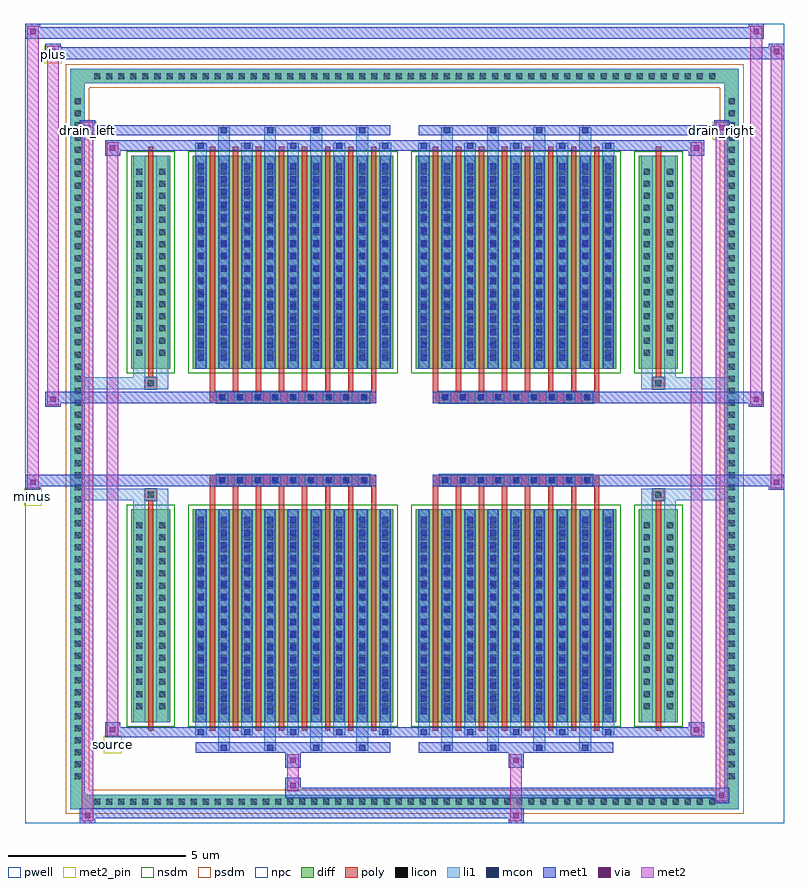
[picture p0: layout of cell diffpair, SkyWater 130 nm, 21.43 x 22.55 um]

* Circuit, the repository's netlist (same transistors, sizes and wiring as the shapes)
* NGSPICE file created from diffpair.ext - technology: sky130A

.subckt diffpair minus drain_right drain_left source plus
X0 source plus drain_left a_n1886_n2088# sky130_fd_pr__nfet_01v8 ad=1.5 pd=6.5 as=1.5 ps=6.5 w=6 l=0.15
X1 a_n1886_n2088# a_n1886_n2088# a_n1886_n2088# a_n1886_n2088# sky130_fd_pr__nfet_01v8 ad=2.85 pd=12.95 as=22.8 ps=103.6 w=6 l=0.15
X2 source minus drain_right a_n1886_n2088# sky130_fd_pr__nfet_01v8 ad=1.5 pd=6.5 as=1.5 ps=6.5 w=6 l=0.15
X3 drain_left plus source a_n1886_n2088# sky130_fd_pr__nfet_01v8 ad=1.5 pd=6.5 as=2.85 ps=12.95 w=6 l=0.15
X4 drain_left plus source a_n1886_n2088# sky130_fd_pr__nfet_01v8 ad=1.5 pd=6.5 as=1.5 ps=6.5 w=6 l=0.15
X5 drain_right minus source a_n1886_n2088# sky130_fd_pr__nfet_01v8 ad=1.5 pd=6.5 as=1.5 ps=6.5 w=6 l=0.15
X6 drain_right minus source a_n1886_n2088# sky130_fd_pr__nfet_01v8 ad=1.5 pd=6.5 as=1.5 ps=6.5 w=6 l=0.15
X7 source plus drain_left a_n1886_n2088# sky130_fd_pr__nfet_01v8 ad=1.5 pd=6.5 as=1.5 ps=6.5 w=6 l=0.15
X8 a_n1886_n2088# a_n1886_n2088# a_n1886_n2088# a_n1886_n2088# sky130_fd_pr__nfet_01v8 ad=2.85 pd=12.95 as=0 ps=0 w=6 l=0.15
X9 a_n1886_n2088# a_n1886_n2088# a_n1886_n2088# a_n1886_n2088# sky130_fd_pr__nfet_01v8 ad=2.85 pd=12.95 as=0 ps=0 w=6 l=0.15
X10 source minus drain_right a_n1886_n2088# sky130_fd_pr__nfet_01v8 ad=1.5 pd=6.5 as=1.5 ps=6.5 w=6 l=0.15
X11 a_n1886_n2088# a_n1886_n2088# a_n1886_n2088# a_n1886_n2088# sky130_fd_pr__nfet_01v8 ad=2.85 pd=12.95 as=0 ps=0 w=6 l=0.15
X12 source minus drain_right a_n1886_n2088# sky130_fd_pr__nfet_01v8 ad=1.5 pd=6.5 as=1.5 ps=6.5 w=6 l=0.15
X13 source minus drain_right a_n1886_n2088# sky130_fd_pr__nfet_01v8 ad=1.5 pd=6.5 as=1.5 ps=6.5 w=6 l=0.15
X14 drain_right minus source a_n1886_n2088# sky130_fd_pr__nfet_01v8 ad=1.5 pd=6.5 as=2.85 ps=12.95 w=6 l=0.15
X15 drain_right minus source a_n1886_n2088# sky130_fd_pr__nfet_01v8 ad=1.5 pd=6.5 as=1.5 ps=6.5 w=6 l=0.15
X16 drain_right minus source a_n1886_n2088# sky130_fd_pr__nfet_01v8 ad=1.5 pd=6.5 as=1.5 ps=6.5 w=6 l=0.15
X17 source minus drain_right a_n1886_n2088# sky130_fd_pr__nfet_01v8 ad=1.5 pd=6.5 as=1.5 ps=6.5 w=6 l=0.15
X18 drain_right minus source a_n1886_n2088# sky130_fd_pr__nfet_01v8 ad=1.5 pd=6.5 as=2.85 ps=12.95 w=6 l=0.15
X19 drain_left plus source a_n1886_n2088# sky130_fd_pr__nfet_01v8 ad=1.5 pd=6.5 as=2.85 ps=12.95 w=6 l=0.15
X20 source plus drain_left a_n1886_n2088# sky130_fd_pr__nfet_01v8 ad=2.85 pd=12.95 as=1.5 ps=6.5 w=6 l=0.15
X21 drain_right minus source a_n1886_n2088# sky130_fd_pr__nfet_01v8 ad=1.5 pd=6.5 as=1.5 ps=6.5 w=6 l=0.15
X22 drain_right minus source a_n1886_n2088# sky130_fd_pr__nfet_01v8 ad=1.5 pd=6.5 as=1.5 ps=6.5 w=6 l=0.15
X23 source minus drain_right a_n1886_n2088# sky130_fd_pr__nfet_01v8 ad=2.85 pd=12.95 as=1.5 ps=6.5 w=6 l=0.15
X24 source minus drain_right a_n1886_n2088# sky130_fd_pr__nfet_01v8 ad=2.85 pd=12.95 as=1.5 ps=6.5 w=6 l=0.15
X25 source plus drain_left a_n1886_n2088# sky130_fd_pr__nfet_01v8 ad=1.5 pd=6.5 as=1.5 ps=6.5 w=6 l=0.15
X26 drain_left plus source a_n1886_n2088# sky130_fd_pr__nfet_01v8 ad=1.5 pd=6.5 as=1.5 ps=6.5 w=6 l=0.15
X27 source minus drain_right a_n1886_n2088# sky130_fd_pr__nfet_01v8 ad=1.5 pd=6.5 as=1.5 ps=6.5 w=6 l=0.15
X28 source plus drain_left a_n1886_n2088# sky130_fd_pr__nfet_01v8 ad=1.5 pd=6.5 as=1.5 ps=6.5 w=6 l=0.15
X29 source plus drain_left a_n1886_n2088# sky130_fd_pr__nfet_01v8 ad=1.5 pd=6.5 as=1.5 ps=6.5 w=6 l=0.15
X30 drain_left plus source a_n1886_n2088# sky130_fd_pr__nfet_01v8 ad=1.5 pd=6.5 as=1.5 ps=6.5 w=6 l=0.15
X31 drain_left plus source a_n1886_n2088# sky130_fd_pr__nfet_01v8 ad=1.5 pd=6.5 as=1.5 ps=6.5 w=6 l=0.15
X32 drain_left plus source a_n1886_n2088# sky130_fd_pr__nfet_01v8 ad=1.5 pd=6.5 as=1.5 ps=6.5 w=6 l=0.15
X33 source plus drain_left a_n1886_n2088# sky130_fd_pr__nfet_01v8 ad=2.85 pd=12.95 as=1.5 ps=6.5 w=6 l=0.15
X34 drain_left plus source a_n1886_n2088# sky130_fd_pr__nfet_01v8 ad=1.5 pd=6.5 as=1.5 ps=6.5 w=6 l=0.15
X35 source plus drain_left a_n1886_n2088# sky130_fd_pr__nfet_01v8 ad=1.5 pd=6.5 as=1.5 ps=6.5 w=6 l=0.15
.ends

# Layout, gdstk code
import gdstk
lib = gdstk.Library(unit=1e-6, precision=5e-09)
def R(c, l, rs):  # rectangles x0, y0, x1, y1
    for r in rs: c.add(gdstk.rectangle(r[:2], r[2:], *l))
def A(c, l, x, y, w, h, nx, ny, dx, dy):  # array of equal rectangles
    R(c, l, [(x+i*dx, y+j*dy, x+i*dx+w, y+j*dy+h) for i in range(nx) for j in range(ny)])
def P(c, l, *ps):  # polygons
    for p in ps: c.add(gdstk.Polygon(p, *l))
pwell = (64, 44)
diff = (65, 20)
poly = (66, 20)
licon = (66, 44)
li1 = (67, 20)
mcon = (67, 44)
met1 = (68, 20)
via = (68, 44)
met2_pin = (69, 16)
met2 = (69, 20)
nsdm = (93, 44)
psdm = (94, 20)
npc = (95, 20)

diffpair = lib.new_cell('diffpair')
R(diffpair, pwell, [(-10.7,-10.84,10.7,11.71), (-8.02,-9.03,-0.01,-0.805), (0.01,-9.03,8.02,-0.805), (-8.02,0.805,-0.01,9.03), (0.01,0.805,8.02,9.03)])
A(diffpair, diff, -8.875, -10.44, 0.41, 0.41, 52, 2, 0.34, 20.47)
A(diffpair, diff, -9.43, -9.725, 0.41, 0.41, 1, 57, 0, 0.34)
A(diffpair, diff, 9.02, -9.725, 0.41, 0.41, 1, 57, 0, 0.34)
R(diffpair, diff, [(-8.875,-10.44,8.875,-10.03), (-9.43,-9.725,-9.02,9.725), (9.02,-9.725,9.43,9.725), (-7.71,-7.985,-6.61,-1.985), (-5.97,-7.985,-0.32,-1.985), (0.32,-7.985,5.97,-1.985), (6.61,-7.985,7.71,-1.985), (-7.71,1.985,-6.61,7.985), (-5.97,1.985,-0.32,7.985), (0.32,1.985,5.97,7.985), (6.61,1.985,7.71,7.985), (-8.875,10.03,8.875,10.44)])
P(diffpair, diff, [(9.43,10.44),(-9.43,10.44),(-9.43,-10.03),(-9.02,-10.03),(-9.02,10.03),(9.02,10.03),(9.02,-10.03),(-9.02,-10.03),(-9.43,-10.03),(-9.43,-10.44),(9.43,-10.44)])
A(diffpair, poly, -5.495, -8.235, 0.15, 6.5, 8, 2, 0.65, 9.97)
A(diffpair, poly, 0.795, -8.235, 0.15, 6.5, 8, 2, 0.65, 9.97)
A(diffpair, poly, -5.495, -1.735, 0.15, 0.4, 8, 2, 0.65, 3.07)
A(diffpair, poly, 0.795, -1.735, 0.15, 0.4, 8, 2, 0.65, 3.07)
A(diffpair, poly, -5.31, -1.335, 0.33, 0.33, 9, 2, 0.5, 2.34)
A(diffpair, poly, 0.98, -1.335, 0.33, 0.33, 9, 2, 0.5, 2.34)
R(diffpair, poly, [(-7.235,-8.235,-7.085,-1.735), (7.085,-8.235,7.235,-1.735), (-7.325,-1.735,-6.995,-1.405), (-7.325,-1.735,-6.995,-1.405), (6.995,-1.735,7.325,-1.405), (6.995,-1.735,7.325,-1.405), (-5.495,-1.335,-0.795,-1.005), (0.795,-1.335,5.495,-1.005), (-5.495,1.005,-0.795,1.335), (0.795,1.005,5.495,1.335), (-7.325,1.405,-6.995,1.735), (-7.325,1.405,-6.995,1.735), (6.995,1.405,7.325,1.735), (6.995,1.405,7.325,1.735), (-7.235,1.735,-7.085,8.235), (7.085,1.735,7.235,8.235)])
A(diffpair, licon, -8.755, -10.32, 0.17, 0.17, 52, 2, 0.34, 20.47)
A(diffpair, licon, -9.31, -9.605, 0.17, 0.17, 1, 57, 0, 0.34)
A(diffpair, licon, 9.14, -9.605, 0.17, 0.17, 1, 57, 0, 0.34)
A(diffpair, licon, -7.57, -7.62, 0.17, 0.17, 1, 16, 0, 0.34)
A(diffpair, licon, -6.92, -7.62, 0.17, 0.17, 1, 16, 0, 0.34)
A(diffpair, licon, -5.83, -7.62, 0.17, 0.17, 9, 16, 0.65, 0.34)
A(diffpair, licon, 0.46, -7.62, 0.17, 0.17, 9, 16, 0.65, 0.34)
A(diffpair, licon, 6.75, -7.62, 0.17, 0.17, 1, 16, 0, 0.34)
A(diffpair, licon, 7.4, -7.62, 0.17, 0.17, 1, 16, 0, 0.34)
A(diffpair, licon, -5.23, -1.255, 0.17, 0.17, 9, 2, 0.5, 2.34)
A(diffpair, licon, 1.06, -1.255, 0.17, 0.17, 9, 2, 0.5, 2.34)
A(diffpair, licon, -7.57, 2.35, 0.17, 0.17, 1, 16, 0, 0.34)
A(diffpair, licon, -6.92, 2.35, 0.17, 0.17, 1, 16, 0, 0.34)
A(diffpair, licon, -5.83, 2.35, 0.17, 0.17, 9, 16, 0.65, 0.34)
A(diffpair, licon, 0.46, 2.35, 0.17, 0.17, 9, 16, 0.65, 0.34)
A(diffpair, licon, 6.75, 2.35, 0.17, 0.17, 1, 16, 0, 0.34)
A(diffpair, licon, 7.4, 2.35, 0.17, 0.17, 1, 16, 0, 0.34)
R(diffpair, licon, [(-7.245,-1.655,-7.075,-1.485), (7.075,-1.655,7.245,-1.485), (-7.245,1.485,-7.075,1.655), (7.075,1.485,7.245,1.655)])
A(diffpair, li1, -8.835, -10.4, 0.33, 0.33, 52, 2, 0.34, 20.47)
A(diffpair, li1, -9.39, -9.685, 0.33, 0.33, 1, 57, 0, 0.34)
A(diffpair, li1, 9.06, -9.685, 0.33, 0.33, 1, 57, 0, 0.34)
A(diffpair, li1, -5.26, -8.79, 0.33, 0.805, 4, 2, 1.3, 16.775)
A(diffpair, li1, -5.18, -8.79, 0.17, 0.17, 4, 2, 1.3, 17.41)
A(diffpair, li1, 1.03, -8.79, 0.33, 0.805, 4, 2, 1.3, 16.775)
A(diffpair, li1, 1.11, -8.79, 0.17, 0.17, 4, 2, 1.3, 17.41)
A(diffpair, li1, -5.91, -8.36, 0.33, 0.375, 5, 2, 1.3, 16.345)
A(diffpair, li1, -5.83, -8.36, 0.17, 0.17, 5, 2, 1.3, 16.55)
A(diffpair, li1, 0.38, -8.36, 0.33, 0.375, 5, 2, 1.3, 16.345)
A(diffpair, li1, 0.46, -8.36, 0.17, 0.17, 5, 2, 1.3, 16.55)
A(diffpair, li1, -5.91, -7.985, 0.33, 6, 9, 2, 0.65, 9.97)
A(diffpair, li1, 0.38, -7.985, 0.33, 6, 9, 2, 0.65, 9.97)
A(diffpair, li1, -5.83, -7.77, 0.17, 0.17, 9, 16, 0.65, 0.36)
A(diffpair, li1, -5.83, -7.77, 0.17, 5.57, 9, 2, 0.65, 9.97)
A(diffpair, li1, 0.46, -7.77, 0.17, 0.17, 9, 16, 0.65, 0.36)
A(diffpair, li1, 0.46, -7.77, 0.17, 5.57, 9, 2, 0.65, 9.97)
A(diffpair, li1, -7.65, -7.7, 0.33, 0.33, 1, 16, 0, 0.34)
A(diffpair, li1, -7, -7.7, 0.33, 0.33, 1, 16, 0, 0.34)
A(diffpair, li1, -5.91, -7.7, 0.33, 0.33, 9, 16, 0.65, 0.34)
A(diffpair, li1, 0.38, -7.7, 0.33, 0.33, 9, 16, 0.65, 0.34)
A(diffpair, li1, 6.67, -7.7, 0.33, 0.33, 1, 16, 0, 0.34)
A(diffpair, li1, 7.32, -7.7, 0.33, 0.33, 1, 16, 0, 0.34)
A(diffpair, li1, -5.31, -1.335, 0.33, 0.33, 9, 2, 0.5, 2.34)
A(diffpair, li1, 0.98, -1.335, 0.33, 0.33, 9, 2, 0.5, 2.34)
A(diffpair, li1, -5.83, 2.2, 0.17, 0.17, 9, 16, 0.65, 0.36)
A(diffpair, li1, 0.46, 2.2, 0.17, 0.17, 9, 16, 0.65, 0.36)
A(diffpair, li1, -7.65, 2.27, 0.33, 0.33, 1, 16, 0, 0.34)
A(diffpair, li1, -7, 2.27, 0.33, 0.33, 1, 16, 0, 0.34)
A(diffpair, li1, -5.91, 2.27, 0.33, 0.33, 9, 16, 0.65, 0.34)
A(diffpair, li1, 0.38, 2.27, 0.33, 0.33, 9, 16, 0.65, 0.34)
A(diffpair, li1, 6.67, 2.27, 0.33, 0.33, 1, 16, 0, 0.34)
A(diffpair, li1, 7.32, 2.27, 0.33, 0.33, 1, 16, 0, 0.34)
R(diffpair, li1, [(-9.43,-10.44,-9.02,-10.03), (-9.43,-10.44,-9.02,-10.03), (-9.02,-10.44,9.02,-10.03), (9.02,-10.44,9.43,-10.03), (9.02,-10.44,9.43,-10.03), (-9.43,-10.03,-9.02,10.03), (9.02,-10.03,9.43,10.03), (-7.65,-7.985,-7.32,-1.985), (-7,-7.985,-6.67,-1.985), (6.67,-7.985,7,-1.985), (7.32,-7.985,7.65,-1.985), (-7.65,-1.985,-7.32,-1.405), (-7,-1.985,-6.67,-1.405), (6.67,-1.985,7,-1.405), (7.32,-1.985,7.65,-1.405), (-9.43,-1.735,-7.325,-1.405), (-7.65,-1.735,-7.325,-1.405), (-7.325,-1.735,-6.995,-1.405), (-6.995,-1.735,-6.67,-1.405), (6.67,-1.735,6.995,-1.405), (6.995,-1.735,7.325,-1.405), (6.995,-1.735,9.43,-1.405), (7.325,-1.735,7.65,-1.405), (-9.43,1.405,-7.325,1.735), (-7.65,1.405,-7.325,1.735), (-7.65,1.405,-7.32,1.985), (-7.325,1.405,-6.995,1.735), (-7,1.405,-6.67,1.985), (-6.995,1.405,-6.67,1.735), (6.67,1.405,6.995,1.735), (6.67,1.405,7,1.985), (6.995,1.405,7.325,1.735), (6.995,1.405,9.43,1.735), (7.32,1.405,7.65,1.985), (7.325,1.405,7.65,1.735), (-7.65,1.985,-7.32,7.985), (-7,1.985,-6.67,7.985), (6.67,1.985,7,7.985), (7.32,1.985,7.65,7.985), (-9.43,10.03,-9.02,10.44), (-9.43,10.03,-9.02,10.44), (-9.02,10.03,9.02,10.44), (9.02,10.03,9.43,10.44), (9.02,10.03,9.43,10.44)])
A(diffpair, mcon, -5.18, -8.79, 0.17, 0.17, 4, 2, 1.3, 17.41)
A(diffpair, mcon, 1.11, -8.79, 0.17, 0.17, 4, 2, 1.3, 17.41)
A(diffpair, mcon, -5.83, -8.36, 0.17, 0.17, 5, 2, 1.3, 16.55)
A(diffpair, mcon, 0.46, -8.36, 0.17, 0.17, 5, 2, 1.3, 16.55)
A(diffpair, mcon, -5.83, -7.77, 0.17, 0.17, 9, 16, 0.65, 0.36)
A(diffpair, mcon, 0.46, -7.77, 0.17, 0.17, 9, 16, 0.65, 0.36)
A(diffpair, mcon, -5.23, -1.255, 0.17, 0.17, 9, 2, 0.5, 2.34)
A(diffpair, mcon, 1.06, -1.255, 0.17, 0.17, 9, 2, 0.5, 2.34)
A(diffpair, mcon, -5.83, 2.2, 0.17, 0.17, 9, 16, 0.65, 0.36)
A(diffpair, mcon, 0.46, 2.2, 0.17, 0.17, 9, 16, 0.65, 0.36)
A(diffpair, met1, -5.24, -8.85, 0.29, 0.29, 4, 2, 1.3, 17.41)
A(diffpair, met1, 1.05, -8.85, 0.29, 0.29, 4, 2, 1.3, 17.41)
A(diffpair, met1, -5.89, -8.42, 0.29, 0.29, 5, 2, 1.3, 16.55)
A(diffpair, met1, 0.4, -8.42, 0.29, 0.29, 5, 2, 1.3, 16.55)
A(diffpair, met1, -5.89, -7.985, 0.29, 6, 9, 2, 0.65, 9.97)
A(diffpair, met1, 0.4, -7.985, 0.29, 6, 9, 2, 0.65, 9.97)
A(diffpair, met1, -5.89, -7.83, 0.29, 0.29, 9, 16, 0.65, 0.36)
A(diffpair, met1, 0.4, -7.83, 0.29, 0.29, 9, 16, 0.65, 0.36)
A(diffpair, met1, -5.29, -1.315, 0.29, 0.29, 9, 2, 0.5, 2.34)
A(diffpair, met1, 1, -1.315, 0.29, 0.29, 9, 2, 0.5, 2.34)
A(diffpair, met1, -5.89, 2.14, 0.29, 0.29, 9, 16, 0.65, 0.36)
A(diffpair, met1, 0.4, 2.14, 0.29, 0.29, 9, 16, 0.65, 0.36)
R(diffpair, met1, [(-9.16,-10.84,-8.73,-10.41), (2.93,-10.84,3.36,-10.41), (-9.16,-10.7,3.36,-10.41), (8.73,-10.27,9.16,-9.84), (-3.36,-10.13,9.16,-9.84), (-3.36,-9.99,-2.93,-9.56), (-3.36,-9.28,-2.93,-8.85), (2.93,-9.28,3.36,-8.85), (-5.89,-8.85,-0.4,-8.56), (0.4,-8.85,5.89,-8.56), (-8.45,-8.42,-8.02,-7.99), (-8.45,-8.42,-5.89,-8.13), (-5.89,-8.42,-0.4,-8.13), (-0.4,-8.42,0.4,-8.13), (0.4,-8.42,5.89,-8.13), (5.89,-8.42,8.45,-8.13), (8.02,-8.42,8.45,-7.99), (-10.7,-1.435,-10.27,-1.005), (10.27,-1.435,10.7,-1.005), (-10.7,-1.335,-0.795,-1.005), (-5.495,-1.335,-0.795,-1.005), (0.795,-1.335,5.495,-1.005), (0.795,-1.335,10.7,-1.005), (-10.13,0.905,-9.7,1.335), (9.7,0.905,10.13,1.335), (-10.13,1.005,-5.495,1.335), (-5.495,1.005,-0.795,1.335), (0.795,1.005,5.495,1.335), (5.495,1.005,10.13,1.335), (-8.45,7.99,-8.02,8.42), (8.02,7.99,8.45,8.42), (-8.45,8.13,-5.89,8.42), (-5.89,8.13,-0.4,8.42), (-0.4,8.13,0.4,8.42), (0.4,8.13,5.89,8.42), (5.89,8.13,8.45,8.42), (-9.16,8.56,-8.73,8.99), (-9.16,8.56,-5.89,8.85), (-5.89,8.56,-0.4,8.85), (0.4,8.56,5.89,8.85), (5.89,8.56,9.16,8.85), (8.73,8.56,9.16,8.99), (-10.13,10.71,-9.7,11.14), (-10.13,10.71,-8.02,11.04), (-8.02,10.71,8.02,11.04), (8.02,10.71,10.7,11.04), (10.27,10.71,10.7,11.14), (-10.7,11.28,-10.27,11.71), (-10.7,11.28,-8.02,11.61), (-8.02,11.28,8.02,11.61), (8.02,11.28,10.13,11.61), (9.7,11.28,10.13,11.71)])
R(diffpair, via, [(-9.02,-10.7,-8.87,-10.55), (3.07,-10.7,3.22,-10.55), (8.87,-10.13,9.02,-9.98), (-3.22,-9.85,-3.07,-9.7), (-3.22,-9.14,-3.07,-8.99), (3.07,-9.14,3.22,-8.99), (-8.31,-8.28,-8.16,-8.13), (8.16,-8.28,8.31,-8.13), (-10.56,-1.295,-10.41,-1.145), (10.41,-1.295,10.56,-1.145), (-9.99,1.045,-9.84,1.195), (9.84,1.045,9.99,1.195), (-8.31,8.13,-8.16,8.28), (8.16,8.13,8.31,8.28), (-9.02,8.7,-8.87,8.85), (8.87,8.7,9.02,8.85), (-9.99,10.85,-9.84,11), (10.41,10.85,10.56,11), (-10.56,11.42,-10.41,11.57), (9.84,11.42,9.99,11.57)])
R(diffpair, met2_pin, [(-8.485,-8.87,-7.985,-8.37), (-10.735,-1.885,-10.235,-1.385), (-9.195,8.44,-8.695,8.94), (8.695,8.44,9.195,8.94), (-10.165,10.59,-9.665,11.09)])
R(diffpair, met2, [(-9.11,-10.79,-8.78,-10.46), (-9.11,-10.79,-8.78,8.94), (2.98,-10.79,3.31,-10.46), (2.98,-10.46,3.31,-9.23), (8.78,-10.22,9.11,-9.89), (8.78,-10.22,9.11,8.94), (-3.31,-9.94,-2.98,-9.61), (-3.31,-9.61,-2.98,-9.23), (-3.31,-9.23,-2.98,-8.9), (2.98,-9.23,3.31,-8.9), (-8.4,-8.37,-8.07,-8.04), (-8.4,-8.37,-8.07,8.37), (8.07,-8.37,8.4,-8.04), (8.07,-8.37,8.4,8.37), (-10.65,-1.385,-10.32,-1.055), (-10.65,-1.385,-10.32,11.66), (10.32,-1.385,10.65,-1.055), (10.32,-1.385,10.65,11.09), (-10.08,0.955,-9.75,1.285), (-10.08,0.955,-9.75,11.09), (9.75,0.955,10.08,1.285), (9.75,0.955,10.08,11.66), (-8.4,8.04,-8.07,8.37), (8.07,8.04,8.4,8.37), (-9.11,8.61,-8.78,8.94), (8.78,8.61,9.11,8.94), (-10.08,10.76,-9.75,11.09), (10.32,10.76,10.65,11.09), (-10.65,11.33,-10.32,11.66), (9.75,11.33,10.08,11.66)])
P(diffpair, met2, [(10.65,-1.385),(10.65,-1.385),(10.65,-1.055),(10.65,-1.055)],
  [(10.65,10.76),(10.65,10.76),(10.65,11.09),(10.65,11.09)],
  [(-10.32,-1.385),(-10.32,-1.385),(-10.32,-1.055),(-10.32,-1.055)],
  [(-10.32,11.33),(-10.32,11.33),(-10.32,11.66),(-10.32,11.66)],
  [(10.08,0.955),(10.08,0.955),(10.08,1.285),(10.08,1.285)],
  [(10.08,11.33),(10.08,11.33),(10.08,11.66),(10.08,11.66)],
  [(-9.75,0.955),(-9.75,0.955),(-9.75,1.285),(-9.75,1.285)],
  [(-9.75,10.76),(-9.75,10.76),(-9.75,11.09),(-9.75,11.09)],
  [(-8.78,-10.79),(-8.78,-10.79),(-8.78,-10.46),(-8.78,-10.46)],
  [(-8.78,8.61),(-8.78,8.61),(-8.78,8.94),(-8.78,8.94)],
  [(9.11,-10.22),(9.11,-10.22),(9.11,-9.89),(9.11,-9.89)],
  [(9.11,8.61),(9.11,8.61),(9.11,8.94),(9.11,8.94)],
  [(-8.07,-8.37),(-8.07,-8.37),(-8.07,-8.04),(-8.07,-8.04)],
  [(-8.07,8.04),(-8.07,8.04),(-8.07,8.37),(-8.07,8.37)],
  [(8.4,-8.37),(8.4,-8.37),(8.4,-8.04),(8.4,-8.04)],
  [(8.4,8.04),(8.4,8.04),(8.4,8.37),(8.4,8.37)])
R(diffpair, nsdm, [(-7.84,-8.115,-6.48,-1.855), (-6.1,-8.115,-0.19,-1.855), (0.19,-8.115,6.1,-1.855), (6.48,-8.115,7.84,-1.855), (-7.84,1.855,-6.48,8.115), (-6.1,1.855,-0.19,8.115), (0.19,1.855,6.1,8.115), (6.48,1.855,7.84,8.115)])
P(diffpair, psdm, [(9.56,10.57),(-9.56,10.57),(-9.56,-9.9),(-8.89,-9.9),(-8.89,9.9),(8.89,9.9),(8.89,-9.9),(-8.89,-9.9),(-9.56,-9.9),(-9.56,-10.57),(9.56,-10.57)])
A(diffpair, npc, -5.33, -1.355, 0.37, 0.37, 9, 2, 0.5, 2.34)
A(diffpair, npc, 0.96, -1.355, 0.37, 0.37, 9, 2, 0.5, 2.34)
R(diffpair, npc, [(-7.345,-1.755,-6.975,-1.385), (6.975,-1.755,7.345,-1.385), (-5.33,-1.355,-4.46,-0.985), (-5.33,-1.355,-4.46,-0.985), (-4.83,-1.355,-3.96,-0.985), (-4.83,-1.355,-3.96,-0.985), (-4.33,-1.355,-3.46,-0.985), (-4.33,-1.355,-3.46,-0.985), (-3.83,-1.355,-2.96,-0.985), (-3.83,-1.355,-2.96,-0.985), (-3.33,-1.355,-2.46,-0.985), (-3.33,-1.355,-2.46,-0.985), (-2.83,-1.355,-1.96,-0.985), (-2.83,-1.355,-1.96,-0.985), (-2.33,-1.355,-1.46,-0.985), (-2.33,-1.355,-1.46,-0.985), (-1.83,-1.355,-0.96,-0.985), (-1.83,-1.355,-0.96,-0.985), (0.96,-1.355,1.83,-0.985), (0.96,-1.355,1.83,-0.985), (1.46,-1.355,2.33,-0.985), (1.46,-1.355,2.33,-0.985), (1.96,-1.355,2.83,-0.985), (1.96,-1.355,2.83,-0.985), (2.46,-1.355,3.33,-0.985), (2.46,-1.355,3.33,-0.985), (2.96,-1.355,3.83,-0.985), (2.96,-1.355,3.83,-0.985), (3.46,-1.355,4.33,-0.985), (3.46,-1.355,4.33,-0.985), (3.96,-1.355,4.83,-0.985), (3.96,-1.355,4.83,-0.985), (4.46,-1.355,5.33,-0.985), (4.46,-1.355,5.33,-0.985), (-5.33,0.985,-4.46,1.355), (-5.33,0.985,-4.46,1.355), (-4.83,0.985,-3.96,1.355), (-4.83,0.985,-3.96,1.355), (-4.33,0.985,-3.46,1.355), (-4.33,0.985,-3.46,1.355), (-3.83,0.985,-2.96,1.355), (-3.83,0.985,-2.96,1.355), (-3.33,0.985,-2.46,1.355), (-3.33,0.985,-2.46,1.355), (-2.83,0.985,-1.96,1.355), (-2.83,0.985,-1.96,1.355), (-2.33,0.985,-1.46,1.355), (-2.33,0.985,-1.46,1.355), (-1.83,0.985,-0.96,1.355), (-1.83,0.985,-0.96,1.355), (0.96,0.985,1.83,1.355), (0.96,0.985,1.83,1.355), (1.46,0.985,2.33,1.355), (1.46,0.985,2.33,1.355), (1.96,0.985,2.83,1.355), (1.96,0.985,2.83,1.355), (2.46,0.985,3.33,1.355), (2.46,0.985,3.33,1.355), (2.96,0.985,3.83,1.355), (2.96,0.985,3.83,1.355), (3.46,0.985,4.33,1.355), (3.46,0.985,4.33,1.355), (3.96,0.985,4.83,1.355), (3.96,0.985,4.83,1.355), (4.46,0.985,5.33,1.355), (4.46,0.985,5.33,1.355), (-7.345,1.385,-6.975,1.755), (6.975,1.385,7.345,1.755)])
diffpair.add(gdstk.Label('minus', (-10.485,-1.635), layer=69, texttype=5))
diffpair.add(gdstk.Label('drain_right', (8.945,8.69), layer=69, texttype=5))
diffpair.add(gdstk.Label('drain_left', (-8.945,8.69), layer=69, texttype=5))
diffpair.add(gdstk.Label('source', (-8.235,-8.62), layer=69, texttype=5))
diffpair.add(gdstk.Label('plus', (-9.915,10.84), layer=69, texttype=5))

lib.write_gds('diffpair.gds')
